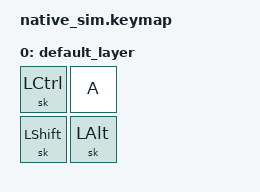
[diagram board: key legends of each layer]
#include <dt-bindings/zmk/keys.h>
#include <behaviors.dtsi>
#include <dt-bindings/zmk/input_mock.h>

/* this test ensures that timing out while the other key is being held results in correct behavior */

&sk {
    lazy;
    release-after-ms = <50>;
};

/ {
    keymap {
        compatible = "zmk,keymap";

        default_layer {
            bindings = <
                &sk LEFT_CONTROL &kp A
                &sk LEFT_SHIFT &sk LEFT_ALT>;
        };
    };
};

&mock_input {
    events = <
        /* tap sk LEFT_CONTROL */
        ZMK_INPUT_MOCK_PRESS(0,0,10)
        ZMK_INPUT_MOCK_RELEASE(0,0,10)
        /* tap A */
        ZMK_INPUT_MOCK_PRESS(0,1,60)
        ZMK_INPUT_MOCK_RELEASE(0,1,10)
        /* tap A */
        ZMK_INPUT_MOCK_PRESS(0,1,10)
        ZMK_INPUT_MOCK_RELEASE(0,1,10)
    >;
};
